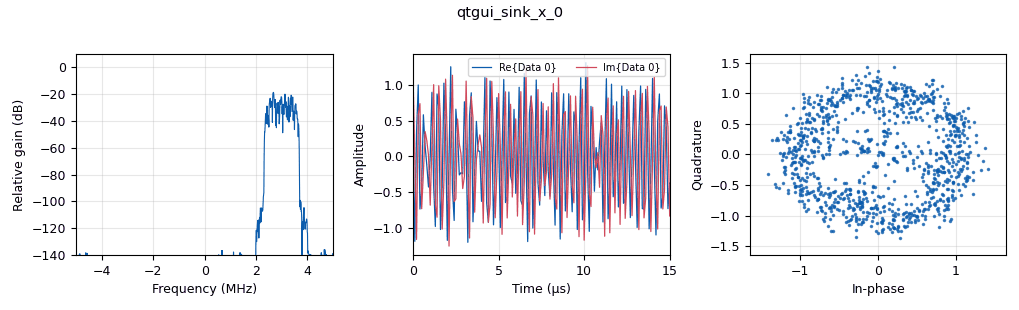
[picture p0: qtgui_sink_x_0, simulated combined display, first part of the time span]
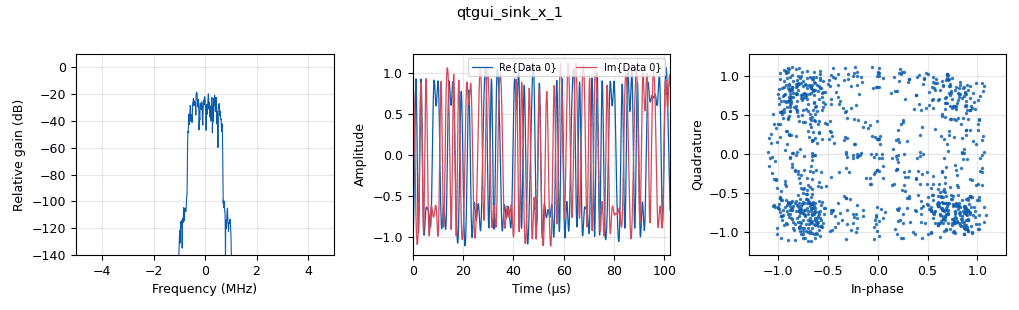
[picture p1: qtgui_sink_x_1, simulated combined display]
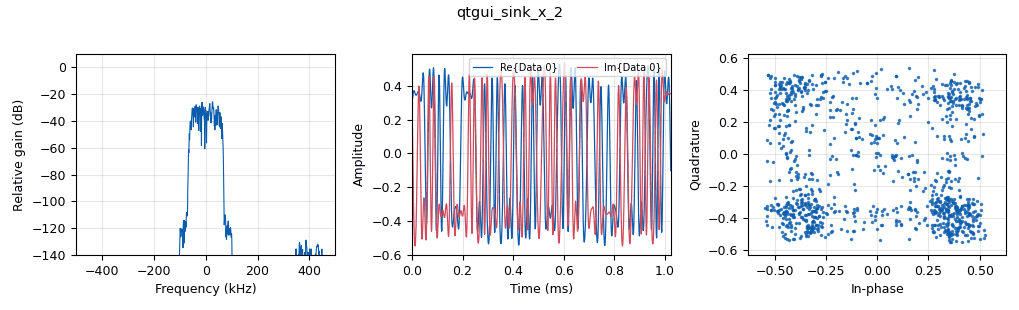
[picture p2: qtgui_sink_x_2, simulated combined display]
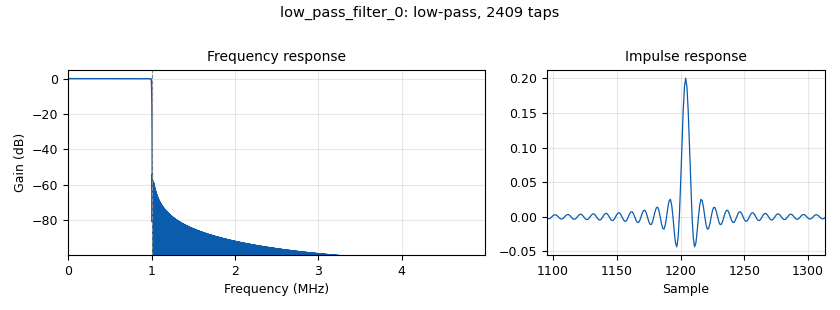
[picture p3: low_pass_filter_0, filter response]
<?xml version='1.0' encoding='utf-8'?>
<?grc format='1' created='3.7.12'?>
<flow_graph>
<block>
<key>options</key>
<param><key>id</key><value>top_block</value></param>
<param><key>generate_options</key><value>qt_gui</value></param>
</block>
<block>
<key>variable</key>
<param><key>id</key><value>samp_rate</value></param>
<param><key>value</key><value>1e6</value></param>
</block>
<block>
<key>variable_constellation</key>
<param><key>id</key><value>variable_constellation_0</value></param>
<param><key>type</key><value>qpsk</value></param>
<param><key>precision</key><value>8</value></param>
</block>
<block>
<key>analog_random_source_x</key>
<param><key>id</key><value>analog_random_source_x_0</value></param>
<param><key>max</key><value>256</value></param>
<param><key>min</key><value>0</value></param>
<param><key>num_samps</key><value>1000</value></param>
<param><key>type</key><value>byte</value></param>
<param><key>repeat</key><value>True</value></param>
</block>
<block>
<key>analog_sig_source_x</key>
<param><key>id</key><value>analog_sig_source_x_0</value></param>
<param><key>amp</key><value>1</value></param>
<param><key>freq</key><value>3e6</value></param>
<param><key>offset</key><value>0</value></param>
<param><key>type</key><value>complex</value></param>
<param><key>samp_rate</key><value>10e6</value></param>
<param><key>waveform</key><value>analog.GR_COS_WAVE</value></param>
</block>
<block>
<key>analog_sig_source_x</key>
<param><key>id</key><value>analog_sig_source_x_1</value></param>
<param><key>amp</key><value>1</value></param>
<param><key>freq</key><value>3e6</value></param>
<param><key>offset</key><value>0</value></param>
<param><key>type</key><value>float</value></param>
<param><key>samp_rate</key><value>10e6</value></param>
<param><key>waveform</key><value>analog.GR_COS_WAVE</value></param>
</block>
<block>
<key>analog_sig_source_x</key>
<param><key>id</key><value>analog_sig_source_x_2</value></param>
<param><key>amp</key><value>-1</value></param>
<param><key>freq</key><value>3e6</value></param>
<param><key>offset</key><value>0</value></param>
<param><key>type</key><value>float</value></param>
<param><key>samp_rate</key><value>10e6</value></param>
<param><key>waveform</key><value>analog.GR_SIN_WAVE</value></param>
</block>
<block>
<key>blocks_complex_to_real</key>
<param><key>id</key><value>blocks_complex_to_real_0</value></param>
</block>
<block>
<key>blocks_float_to_complex</key>
<param><key>id</key><value>blocks_float_to_complex_0</value></param>
</block>
<block>
<key>blocks_multiply_xx</key>
<param><key>id</key><value>blocks_multiply_xx_0</value></param>
<param><key>type</key><value>complex</value></param>
</block>
<block>
<key>blocks_multiply_xx</key>
<param><key>id</key><value>blocks_multiply_xx_1</value></param>
<param><key>type</key><value>float</value></param>
</block>
<block>
<key>blocks_multiply_xx</key>
<param><key>id</key><value>blocks_multiply_xx_2</value></param>
<param><key>type</key><value>float</value></param>
</block>
<block>
<key>blocks_throttle</key>
<param><key>id</key><value>blocks_throttle_0</value></param>
<param><key>samples_per_second</key><value>samp_rate/4</value></param>
<param><key>type</key><value>byte</value></param>
</block>
<block>
<key>digital_constellation_modulator</key>
<param><key>id</key><value>digital_constellation_modulator_0</value></param>
<param><key>constellation</key><value>variable_constellation_0</value></param>
<param><key>differential</key><value>True</value></param>
<param><key>excess_bw</key><value>0.35</value></param>
<param><key>samples_per_symbol</key><value>10</value></param>
</block>
<block>
<key>low_pass_filter</key>
<param><key>id</key><value>low_pass_filter_0</value></param>
<param><key>cutoff_freq</key><value>1e6</value></param>
<param><key>decim</key><value>1</value></param>
<param><key>type</key><value>fir_filter_ccf</value></param>
<param><key>gain</key><value>1</value></param>
<param><key>samp_rate</key><value>10e6</value></param>
<param><key>width</key><value>1e4</value></param>
<param><key>win</key><value>firdes.WIN_HAMMING</value></param>
</block>
<block>
<key>low_pass_filter</key>
<param><key>id</key><value>low_pass_filter_0_0</value></param>
<param><key>cutoff_freq</key><value>1e6</value></param>
<param><key>decim</key><value>1</value></param>
<param><key>type</key><value>fir_filter_ccf</value></param>
<param><key>gain</key><value>1</value></param>
<param><key>samp_rate</key><value>10e6</value></param>
<param><key>width</key><value>1e4</value></param>
<param><key>win</key><value>firdes.WIN_HAMMING</value></param>
</block>
<block>
<key>qtgui_sink_x</key>
<param><key>id</key><value>qtgui_sink_x_0</value></param>
<param><key>bw</key><value>10e6</value></param>
<param><key>fc</key><value>0</value></param>
<param><key>freqchangevar</key><value>None</value></param>
<param><key>fftsize</key><value>1024</value></param>
<param><key>showports</key><value>True</value></param>
<param><key>type</key><value>complex</value></param>
<param><key>wintype</key><value>firdes.WIN_BLACKMAN_hARRIS</value></param>
</block>
<block>
<key>qtgui_sink_x</key>
<param><key>id</key><value>qtgui_sink_x_1</value></param>
<param><key>bw</key><value>10e6</value></param>
<param><key>fc</key><value>0</value></param>
<param><key>freqchangevar</key><value>None</value></param>
<param><key>fftsize</key><value>1024</value></param>
<param><key>showports</key><value>True</value></param>
<param><key>type</key><value>complex</value></param>
<param><key>wintype</key><value>firdes.WIN_BLACKMAN_hARRIS</value></param>
</block>
<block>
<key>qtgui_sink_x</key>
<param><key>id</key><value>qtgui_sink_x_2</value></param>
<param><key>bw</key><value>samp_rate</value></param>
<param><key>fc</key><value>0</value></param>
<param><key>freqchangevar</key><value>None</value></param>
<param><key>fftsize</key><value>1024</value></param>
<param><key>showports</key><value>True</value></param>
<param><key>type</key><value>complex</value></param>
<param><key>wintype</key><value>firdes.WIN_BLACKMAN_hARRIS</value></param>
</block>
<block>
<key>root_raised_cosine_filter</key>
<param><key>id</key><value>root_raised_cosine_filter_0</value></param>
<param><key>alpha</key><value>0.35</value></param>
<param><key>decim</key><value>1</value></param>
<param><key>type</key><value>fir_filter_ccf</value></param>
<param><key>gain</key><value>1</value></param>
<param><key>ntaps</key><value>11*10</value></param>
<param><key>samp_rate</key><value>1</value></param>
<param><key>sym_rate</key><value>10</value></param>
</block>
<connection><source_block_id>analog_random_source_x_0</source_block_id><sink_block_id>blocks_throttle_0</sink_block_id><source_key>0</source_key><sink_key>0</sink_key></connection>
<connection><source_block_id>analog_sig_source_x_0</source_block_id><sink_block_id>blocks_multiply_xx_0</sink_block_id><source_key>0</source_key><sink_key>0</sink_key></connection>
<connection><source_block_id>analog_sig_source_x_1</source_block_id><sink_block_id>blocks_multiply_xx_1</sink_block_id><source_key>0</source_key><sink_key>0</sink_key></connection>
<connection><source_block_id>analog_sig_source_x_2</source_block_id><sink_block_id>blocks_multiply_xx_2</sink_block_id><source_key>0</source_key><sink_key>0</sink_key></connection>
<connection><source_block_id>blocks_complex_to_real_0</source_block_id><sink_block_id>blocks_multiply_xx_1</sink_block_id><source_key>0</source_key><sink_key>1</sink_key></connection>
<connection><source_block_id>blocks_complex_to_real_0</source_block_id><sink_block_id>blocks_multiply_xx_2</sink_block_id><source_key>0</source_key><sink_key>1</sink_key></connection>
<connection><source_block_id>blocks_float_to_complex_0</source_block_id><sink_block_id>low_pass_filter_0_0</sink_block_id><source_key>0</source_key><sink_key>0</sink_key></connection>
<connection><source_block_id>blocks_multiply_xx_0</source_block_id><sink_block_id>blocks_complex_to_real_0</sink_block_id><source_key>0</source_key><sink_key>0</sink_key></connection>
<connection><source_block_id>blocks_multiply_xx_0</source_block_id><sink_block_id>qtgui_sink_x_0</sink_block_id><source_key>0</source_key><sink_key>0</sink_key></connection>
<connection><source_block_id>blocks_multiply_xx_1</source_block_id><sink_block_id>blocks_float_to_complex_0</sink_block_id><source_key>0</source_key><sink_key>0</sink_key></connection>
<connection><source_block_id>blocks_multiply_xx_2</source_block_id><sink_block_id>blocks_float_to_complex_0</sink_block_id><source_key>0</source_key><sink_key>1</sink_key></connection>
<connection><source_block_id>blocks_throttle_0</source_block_id><sink_block_id>digital_constellation_modulator_0</sink_block_id><source_key>0</source_key><sink_key>0</sink_key></connection>
<connection><source_block_id>digital_constellation_modulator_0</source_block_id><sink_block_id>root_raised_cosine_filter_0</sink_block_id><source_key>0</source_key><sink_key>0</sink_key></connection>
<connection><source_block_id>low_pass_filter_0</source_block_id><sink_block_id>blocks_multiply_xx_0</sink_block_id><source_key>0</source_key><sink_key>1</sink_key></connection>
<connection><source_block_id>low_pass_filter_0</source_block_id><sink_block_id>qtgui_sink_x_1</sink_block_id><source_key>0</source_key><sink_key>0</sink_key></connection>
<connection><source_block_id>low_pass_filter_0_0</source_block_id><sink_block_id>qtgui_sink_x_2</sink_block_id><source_key>0</source_key><sink_key>0</sink_key></connection>
<connection><source_block_id>root_raised_cosine_filter_0</source_block_id><sink_block_id>low_pass_filter_0</sink_block_id><source_key>0</source_key><sink_key>0</sink_key></connection>
</flow_graph>
